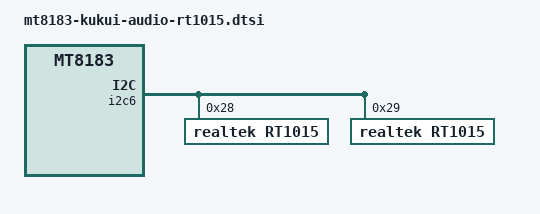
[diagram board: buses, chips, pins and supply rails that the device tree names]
// SPDX-License-Identifier: GPL-2.0
/*
 * Google Kukui (and derivatives) audio fragment for rt1015.
 *
 * Copyright 2020 Google LLC.
 */

&i2c6 {
	rt1015@28 {
		compatible = "realtek,rt1015";
		reg = <0x28>;
	};

	rt1015@29 {
		compatible = "realtek,rt1015";
		reg = <0x29>;
	};
};
